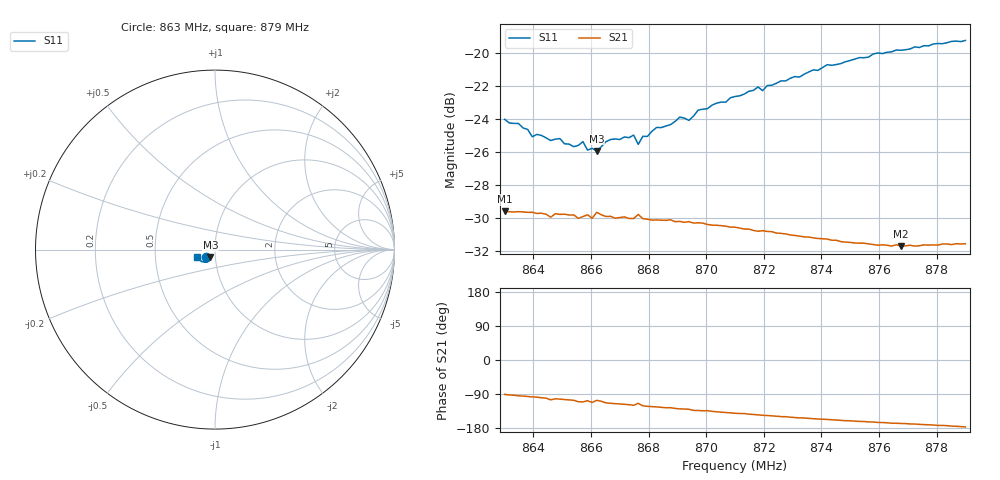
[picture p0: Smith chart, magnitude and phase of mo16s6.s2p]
# HZ S RI R 50
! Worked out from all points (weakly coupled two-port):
!   101 points, 863 MHz to 879 MHz, reference 50 ohm
!   highest |S21| = -29.61 dB at 863 MHz (marker M1); lowest = -31.7 dB at 876.76 MHz (marker M2)
!   lowest |S11| = -26.0 dB at 866.2 MHz (marker M3), VSWR 1.11, Z = 47.3 - j4.11 ohm
!   |S11| at or under -10 dB: start of sweep to end of sweep
!   S12 and S22 are empty: the file has one direction only
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8.63e8  -0.0492 -0.0391  -0.000425 -0.0331  0 0  0 0
8.6348e8  -0.0498 -0.0354  -0.00254 -0.0329  0 0  0 0
8.6396e8  -0.0412 -0.0374  -0.00416 -0.0326  0 0  0 0
8.6492e8  -0.0388 -0.039  -0.00741 -0.0315  0 0  0 0
8.654e8  -0.0337 -0.0395  -0.00901 -0.031  0 0  0 0
8.6572e8  -0.0337 -0.0419  -0.0112 -0.0299  0 0  0 0
8.6588e8  -0.0299 -0.041  -0.00966 -0.0308  0 0  0 0
8.6604e8  -0.0307 -0.0412  -0.0118 -0.0292  0 0  0 0
8.662e8  -0.0258 -0.0433  -0.00924 -0.0315  0 0  0 0
8.6668e8  -0.0313 -0.0448  -0.0131 -0.0291  0 0  0 0
8.6748e8  -0.0288 -0.0484  -0.0156 -0.0274  0 0  0 0
8.6764e8  -0.0209 -0.0485  -0.0134 -0.0295  0 0  0 0
8.678e8  -0.0283 -0.0482  -0.0161 -0.027  0 0  0 0
8.6844e8  -0.0291 -0.0517  -0.0178 -0.0255  0 0  0 0
8.6908e8  -0.0316 -0.0555  -0.0194 -0.024  0 0  0 0
8.694e8  -0.028 -0.0558  -0.0198 -0.0236  0 0  0 0
8.6972e8  -0.0326 -0.0586  -0.0209 -0.0223  0 0  0 0
8.71e8  -0.0378 -0.0633  -0.0229 -0.0188  0 0  0 0
8.7372e8  -0.0539 -0.0706  -0.0249 -0.0117  0 0  0 0
8.7644e8  -0.0781 -0.0636  -0.0253 -0.00595  0 0  0 0
8.7676e8  -0.0811 -0.0617  -0.0253 -0.00564  0 0  0 0
8.79e8  -0.1 -0.0434  -0.0264 -0.00155  0 0  0 0
